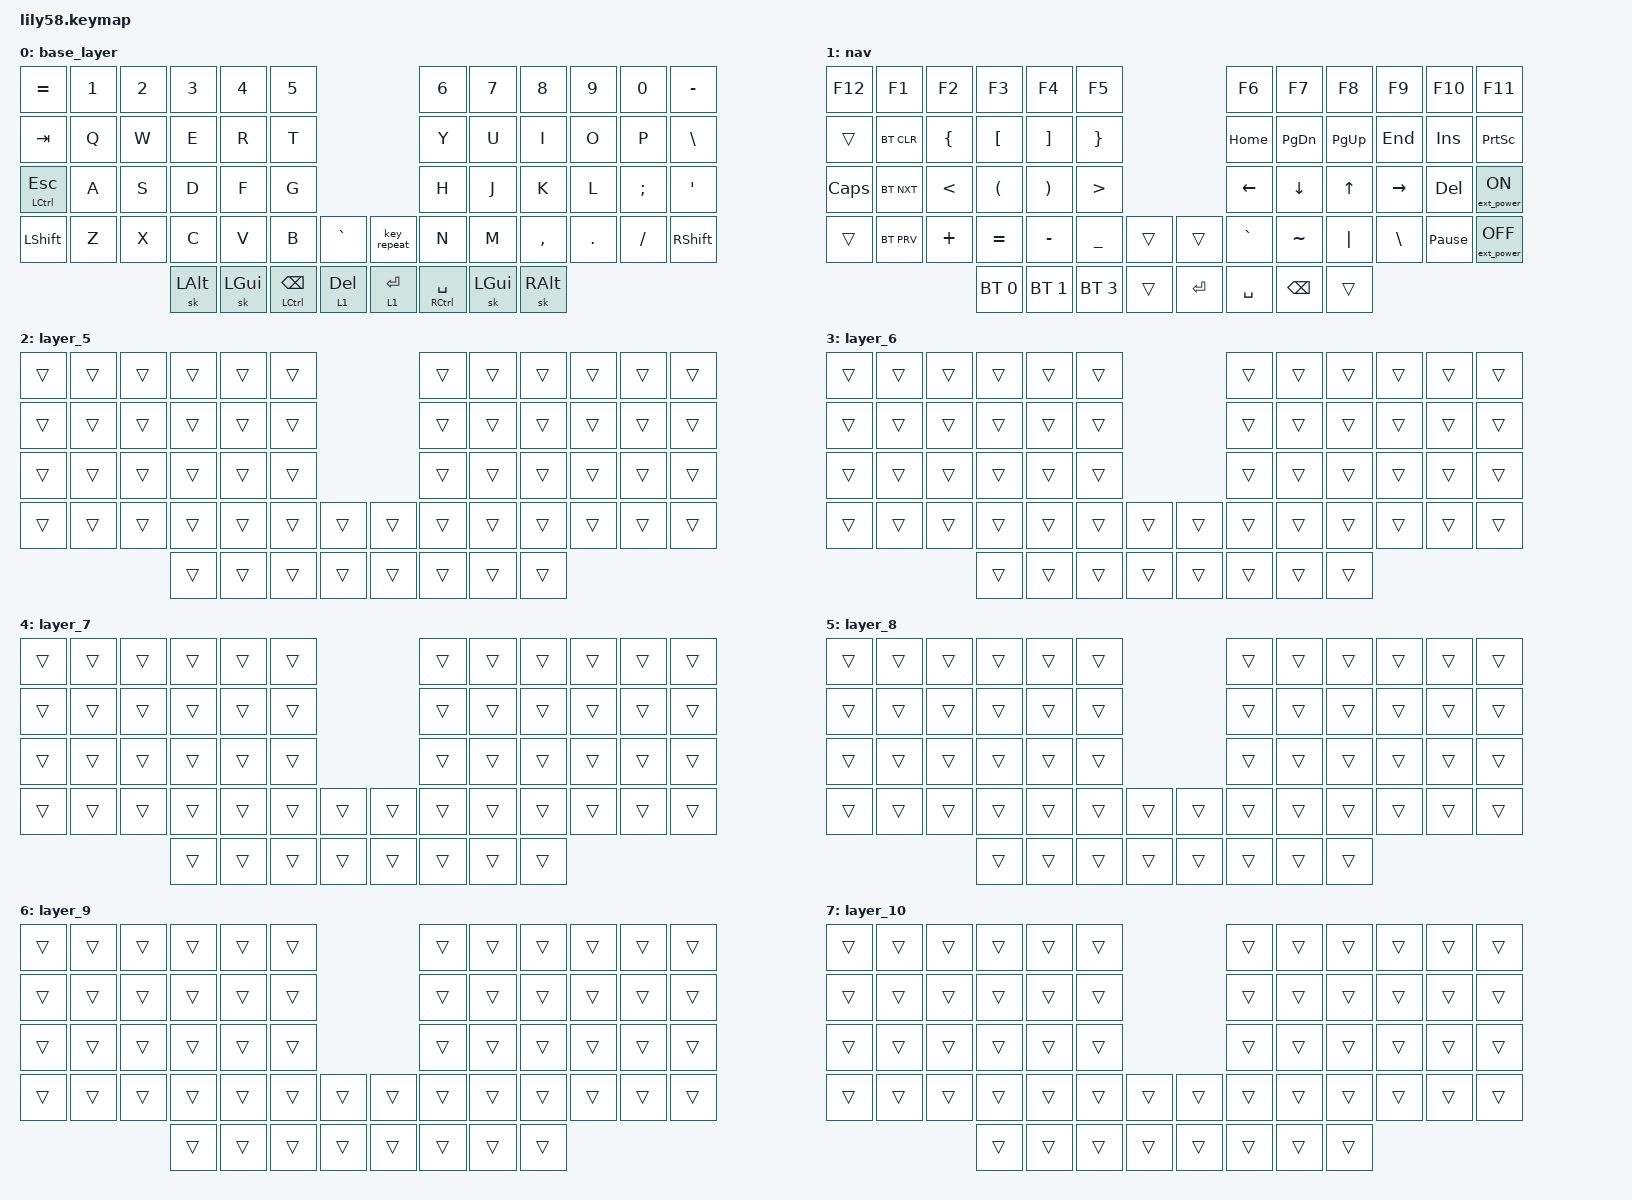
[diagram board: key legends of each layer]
/*
 * Copyright (c) 2020 The ZMK Contributors
 *
 * SPDX-License-Identifier: MIT
 */

#include <behaviors.dtsi>
#include <dt-bindings/zmk/bt.h>
#include <dt-bindings/zmk/ext_power.h>
#include <dt-bindings/zmk/keys.h>

/ {
    combos {
        compatible = "zmk,combos";

        combo_studio_unlock {
            timeout-ms = <50>;
            key-positions = <0 1>;
            bindings = <&studio_unlock>;
        };

        caps_word {
            bindings = <&caps_word>;
            key-positions = <36 49>;
        };

        emacs_quit {
            bindings = <&kp LC(G)>;
            key-positions = <16 19>;
        };
    };
};

/ {
    behaviors {
        brmr: brmr {
            compatible = "zmk,behavior-hold-tap";
            label = "BRMR";
            bindings = <&kp>, <&kp>;

            #binding-cells = <2>;
            tapping-term-ms = <250>;
            flavor = "tap-preferred";
            hold-trigger-on-release;
            hold-trigger-key-positions = <0 1 2 3 4 5 12 13 14 15 16 17 24 25 26 27 28 29 36 37 38 39 40 41 42 50 51 52 53>;
            require-prior-idle-ms = <200>;
            quick-tap-ms = <200>;
        };

        brml: brml {
            compatible = "zmk,behavior-hold-tap";
            label = "BRML";
            bindings = <&kp>, <&kp>;

            #binding-cells = <2>;
            tapping-term-ms = <250>;
            flavor = "tap-preferred";
            hold-trigger-on-release;
            hold-trigger-key-positions = <6 7 8 9 10 11 18 19 20 21 22 23 30 31 32 33 34 35 43 44 45 46 47 48 49 54 55 56 57>;
            require-prior-idle-ms = <200>;
            quick-tap-ms = <200>;
        };
    };

    keymap {
        compatible = "zmk,keymap";

        base_layer {
            // ------------------------------------------------------------------------------------------------------------
            // |  ESC  |  1  |  2  |  3   |  4   |  5   |                   |  6   |  7    |  8    |  9   |   0   |   `   |
            // |  TAB  |  Q  |  W  |  E   |  R   |  T   |                   |  Y   |  U    |  I    |  O   |   P   |   -   |
            // |  CTRL |  A  |  S  |  D   |  F   |  G   |                   |  H   |  J    |  K    |  L   |   ;   |   '   |
            // | SHIFT |  Z  |  X  |  C   |  V   |  B   |   "["  |  |  "]"  |  N   |  M    |  ,    |  .   |   /   | SHIFT |
            //                     | ALT  | GUI  | LOWER|  SPACE |  | ENTER | RAISE| BSPC  | GUI   |

            bindings = <
&kp EQUAL                &kp N1  &kp N2  &kp N3        &kp N4        &kp N5                                                      &kp N6                     &kp N7        &kp N8         &kp N9   &kp N0    &kp MINUS
&kp TAB                  &kp Q   &kp W   &kp E         &kp R         &kp T                                                       &kp Y                      &kp U         &kp I          &kp O    &kp P     &kp BSLH
&mt LEFT_CONTROL ESCAPE  &kp A   &kp S   &kp D         &kp F         &kp G                                                       &kp H                      &kp J         &kp K          &kp L    &kp SEMI  &kp SQT
&kp LSHFT                &kp Z   &kp X   &kp C         &kp V         &kp B                         &kp GRAVE       &key_repeat   &kp N                      &kp M         &kp COMMA      &kp DOT  &kp FSLH  &kp RSHFT
                                         &sk LEFT_ALT  &sk LEFT_GUI  &brml LEFT_CONTROL BACKSPACE  &lt 1 DELETE    &lt 1 RETURN  &brmr RIGHT_CONTROL SPACE  &sk LEFT_GUI  &sk RIGHT_ALT
            >;
        };

        nav {
            bindings = <
&kp F12   &kp F1      &kp F2          &kp F3                &kp F4                 &kp F5                                  &kp F6          &kp F7          &kp F8        &kp F9         &kp F10          &kp F11
&trans    &bt BT_CLR  &kp LEFT_BRACE  &kp LEFT_BRACKET      &kp RIGHT_BRACKET      &kp RIGHT_BRACE                         &kp HOME        &kp PAGE_DOWN   &kp PG_UP     &kp END        &kp INS          &kp PRINTSCREEN
&kp CAPS  &bt BT_NXT  &kp LESS_THAN   &kp LEFT_PARENTHESIS  &kp RIGHT_PARENTHESIS  &kp GREATER_THAN                        &kp LEFT_ARROW  &kp DOWN_ARROW  &kp UP_ARROW  &kp RIGHT      &kp DELETE       &ext_power EP_ON
&trans    &bt BT_PRV  &kp PLUS        &kp EQUAL             &kp MINUS              &kp UNDER         &trans    &trans      &kp GRAVE       &kp TILDE       &kp PIPE      &kp BACKSLASH  &kp PAUSE_BREAK  &ext_power EP_OFF
                                      &bt BT_SEL 0          &bt BT_SEL 1           &bt BT_SEL 3      &trans    &kp RETURN  &kp SPACE       &kp BACKSPACE   &trans
            >;
        };

        layer_5 {
            bindings = <
&trans  &trans  &trans  &trans  &trans  &trans                    &trans  &trans  &trans  &trans  &trans  &trans
&trans  &trans  &trans  &trans  &trans  &trans                    &trans  &trans  &trans  &trans  &trans  &trans
&trans  &trans  &trans  &trans  &trans  &trans                    &trans  &trans  &trans  &trans  &trans  &trans
&trans  &trans  &trans  &trans  &trans  &trans  &trans    &trans  &trans  &trans  &trans  &trans  &trans  &trans
                        &trans  &trans  &trans  &trans    &trans  &trans  &trans  &trans
            >;
        };

        layer_6 {
            bindings = <
&trans  &trans  &trans  &trans  &trans  &trans                    &trans  &trans  &trans  &trans  &trans  &trans
&trans  &trans  &trans  &trans  &trans  &trans                    &trans  &trans  &trans  &trans  &trans  &trans
&trans  &trans  &trans  &trans  &trans  &trans                    &trans  &trans  &trans  &trans  &trans  &trans
&trans  &trans  &trans  &trans  &trans  &trans  &trans    &trans  &trans  &trans  &trans  &trans  &trans  &trans
                        &trans  &trans  &trans  &trans    &trans  &trans  &trans  &trans
            >;
        };

        layer_7 {
            bindings = <
&trans  &trans  &trans  &trans  &trans  &trans                    &trans  &trans  &trans  &trans  &trans  &trans
&trans  &trans  &trans  &trans  &trans  &trans                    &trans  &trans  &trans  &trans  &trans  &trans
&trans  &trans  &trans  &trans  &trans  &trans                    &trans  &trans  &trans  &trans  &trans  &trans
&trans  &trans  &trans  &trans  &trans  &trans  &trans    &trans  &trans  &trans  &trans  &trans  &trans  &trans
                        &trans  &trans  &trans  &trans    &trans  &trans  &trans  &trans
            >;
        };

        layer_8 {
            bindings = <
&trans  &trans  &trans  &trans  &trans  &trans                    &trans  &trans  &trans  &trans  &trans  &trans
&trans  &trans  &trans  &trans  &trans  &trans                    &trans  &trans  &trans  &trans  &trans  &trans
&trans  &trans  &trans  &trans  &trans  &trans                    &trans  &trans  &trans  &trans  &trans  &trans
&trans  &trans  &trans  &trans  &trans  &trans  &trans    &trans  &trans  &trans  &trans  &trans  &trans  &trans
                        &trans  &trans  &trans  &trans    &trans  &trans  &trans  &trans
            >;
        };

        layer_9 {
            bindings = <
&trans  &trans  &trans  &trans  &trans  &trans                    &trans  &trans  &trans  &trans  &trans  &trans
&trans  &trans  &trans  &trans  &trans  &trans                    &trans  &trans  &trans  &trans  &trans  &trans
&trans  &trans  &trans  &trans  &trans  &trans                    &trans  &trans  &trans  &trans  &trans  &trans
&trans  &trans  &trans  &trans  &trans  &trans  &trans    &trans  &trans  &trans  &trans  &trans  &trans  &trans
                        &trans  &trans  &trans  &trans    &trans  &trans  &trans  &trans
            >;
        };

        layer_10 {
            bindings = <
&trans  &trans  &trans  &trans  &trans  &trans                    &trans  &trans  &trans  &trans  &trans  &trans
&trans  &trans  &trans  &trans  &trans  &trans                    &trans  &trans  &trans  &trans  &trans  &trans
&trans  &trans  &trans  &trans  &trans  &trans                    &trans  &trans  &trans  &trans  &trans  &trans
&trans  &trans  &trans  &trans  &trans  &trans  &trans    &trans  &trans  &trans  &trans  &trans  &trans  &trans
                        &trans  &trans  &trans  &trans    &trans  &trans  &trans  &trans
            >;
        };
    };
};
